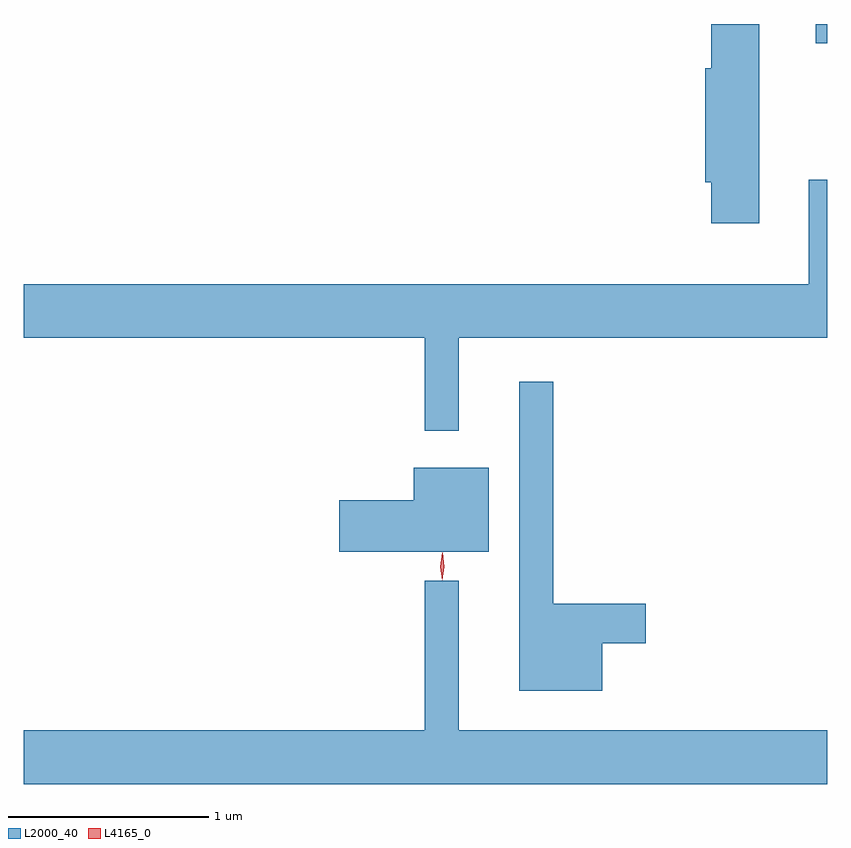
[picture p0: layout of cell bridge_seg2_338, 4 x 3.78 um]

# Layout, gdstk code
import gdstk
lib = gdstk.Library(unit=1e-6, precision=1e-09)
def R(c, l, rs):  # rectangles x0, y0, x1, y1
    for r in rs: c.add(gdstk.rectangle(r[:2], r[2:], *l))
def P(c, l, *ps):  # polygons
    for p in ps: c.add(gdstk.Polygon(p, *l))
L2000_40 = (2000, 40)
L4165_0 = (4165, 0)

bridge_seg2_338 = lib.new_cell('bridge_seg2_338')
R(bridge_seg2_338, L2000_40, [(390.086,1038.683,390.144,1038.778)])
P(bridge_seg2_338, L2000_40, [(389.804,1038.778),(389.566,1038.778),(389.566,1038.559),(389.536,1038.559),(389.536,1037.991),(389.566,1037.991),(389.566,1037.786),(389.804,1037.786)],
  [(388.309,1037.216),(390.144,1037.216),(390.144,1038.004),(390.051,1038.004),(390.051,1037.484),(386.144,1037.484),(386.144,1037.216),(388.141,1037.216),(388.141,1036.753),(388.309,1036.753)],
  [(389.024,1035.696),(389.239,1035.696),(389.239,1035.894),(388.779,1035.894),(388.779,1036.998),(388.611,1036.998),(388.611,1035.461),(389.024,1035.461)],
  [(388.459,1036.569),(388.086,1036.569),(388.086,1036.409),(387.716,1036.409),(387.716,1036.151),(388.459,1036.151)],
  [(390.144,1035.264),(388.309,1035.264),(388.309,1036.007),(388.141,1036.007),(388.141,1035.264),(386.144,1035.264),(386.144,1034.996),(390.144,1034.996)])
P(bridge_seg2_338, L4165_0, [(388.227,1036.01),(388.227,1036.01),(388.218,1036.078),(388.228,1036.146),(388.229,1036.146),(388.229,1036.146),(388.238,1036.078),(388.228,1036.01)],
  [(388.227,1036.013),(388.227,1036.013),(388.218,1036.076),(388.229,1036.139),(388.229,1036.14),(388.23,1036.139),(388.238,1036.076),(388.228,1036.013)])

lib.write_gds('bridge_seg2_338.gds')
